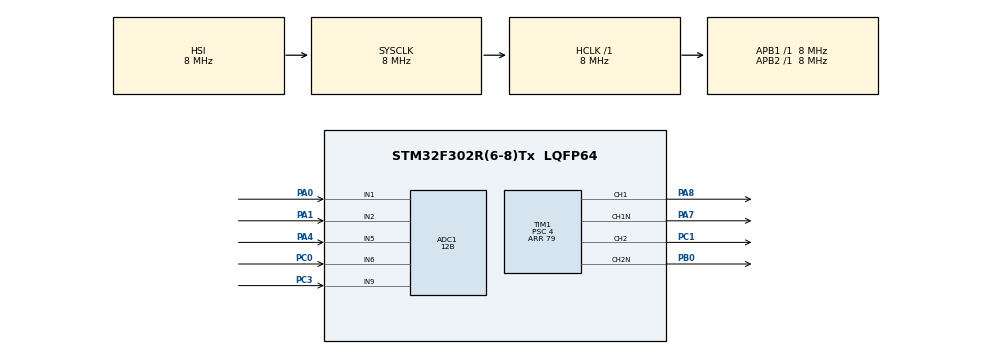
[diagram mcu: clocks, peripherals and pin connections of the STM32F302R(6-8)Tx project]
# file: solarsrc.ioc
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ADC1.Channel-12\#ChannelRegularConversion=ADC_CHANNEL_1
ADC1.Channel-13\#ChannelRegularConversion=ADC_CHANNEL_2
ADC1.Channel-14\#ChannelRegularConversion=ADC_CHANNEL_9
ADC1.Channel-15\#ChannelRegularConversion=ADC_CHANNEL_5
ADC1.Channel-16\#ChannelRegularConversion=ADC_CHANNEL_6
ADC1.ClockPrescaler=ADC_CLOCK_SYNC_PCLK_DIV4
ADC1.ContinuousConvMode=ENABLE
ADC1.DMAContinuousRequests=ENABLE
ADC1.DataAlign=ADC_DATAALIGN_RIGHT
ADC1.DiscontinuousConvMode=DISABLE
ADC1.EOCSelection=ADC_EOC_SINGLE_CONV
ADC1.EnableInjectedConversion=ENABLE
ADC1.EnableRegularConversion=ENABLE
ADC1.InjNumberOfConversion=0
ADC1.LowPowerAutoWait=DISABLE
ADC1.NbrOfConversion=5
ADC1.NbrOfConversionFlag=1
ADC1.Offset-12\#ChannelRegularConversion=0
ADC1.Offset-13\#ChannelRegularConversion=0
ADC1.Offset-14\#ChannelRegularConversion=0
ADC1.Offset-15\#ChannelRegularConversion=0
ADC1.Offset-16\#ChannelRegularConversion=0
ADC1.OffsetNumber-12\#ChannelRegularConversion=ADC_OFFSET_NONE
ADC1.OffsetNumber-13\#ChannelRegularConversion=ADC_OFFSET_NONE
ADC1.OffsetNumber-14\#ChannelRegularConversion=ADC_OFFSET_NONE
ADC1.OffsetNumber-15\#ChannelRegularConversion=ADC_OFFSET_NONE
ADC1.OffsetNumber-16\#ChannelRegularConversion=ADC_OFFSET_NONE
ADC1.Overrun=ADC_OVR_DATA_OVERWRITTEN
ADC1.Rank-12\#ChannelRegularConversion=1
ADC1.Rank-13\#ChannelRegularConversion=2
ADC1.Rank-14\#ChannelRegularConversion=3
ADC1.Rank-15\#ChannelRegularConversion=4
ADC1.Rank-16\#ChannelRegularConversion=5
ADC1.Resolution=ADC_RESOLUTION_12B
ADC1.SamplingTime-12\#ChannelRegularConversion=ADC_SAMPLETIME_61CYCLES_5
ADC1.SamplingTime-13\#ChannelRegularConversion=ADC_SAMPLETIME_61CYCLES_5
ADC1.SamplingTime-14\#ChannelRegularConversion=ADC_SAMPLETIME_61CYCLES_5
ADC1.SamplingTime-15\#ChannelRegularConversion=ADC_SAMPLETIME_61CYCLES_5
ADC1.SamplingTime-16\#ChannelRegularConversion=ADC_SAMPLETIME_61CYCLES_5
ADC1.ScanConvMode=ADC_SCAN_ENABLE
ADC1.SubFamily=STM32F302x8
ADC1.master=1
Dma.ADC1.0.Direction=DMA_PERIPH_TO_MEMORY
Dma.ADC1.0.Instance=DMA1_Channel1
Dma.ADC1.0.MemDataAlignment=DMA_MDATAALIGN_WORD
Dma.ADC1.0.MemInc=DMA_MINC_ENABLE
Dma.ADC1.0.Mode=DMA_CIRCULAR
Dma.ADC1.0.PeriphDataAlignment=DMA_PDATAALIGN_WORD
Dma.ADC1.0.PeriphInc=DMA_PINC_DISABLE
Dma.ADC1.0.Priority=DMA_PRIORITY_LOW
Dma.Request0=ADC1
Mcu.Family=STM32F3
Mcu.Name=STM32F302R(6-8)Tx
Mcu.Package=LQFP64
NVIC.DMA1_Channel1_IRQn=true\:0\:0\:false\:false\:true\:false
NVIC.PriorityGroup=NVIC_PRIORITYGROUP_4
PA0.Mode=IN1-Single-Ended
PA0.Signal=ADC1_IN1
PA1.Mode=IN2-Single-Ended
PA1.Signal=ADC1_IN2
PA4.Mode=IN5-Single-Ended
PA4.Signal=ADC1_IN5
PA7.Mode=PWM Generation1 CH1 CH1N
PA7.Signal=TIM1_CH1N
PA8.Signal=S_TIM1_CH1
PB0.Mode=PWM Generation2 CH2 CH2N
PB0.Signal=TIM1_CH2N
PB3.Signal=SYS_JTDO-TRACESWO
PC0.Signal=ADCx_IN6
PC1.Signal=S_TIM1_CH2
PC3.Signal=ADCx_IN9
ProjectManager.HeapSize=0x200
ProjectManager.StackSize=0x400
ProjectManager.TargetToolchain=MDK-ARM V5
RCC.AHBFreq_Value=8000000
RCC.APB1Freq_Value=8000000
RCC.APB2Freq_Value=8000000
RCC.CortexFreq_Value=8000000
RCC.HSE_VALUE=8000000
RCC.HSI_VALUE=8000000
RCC.LSE_VALUE=32768
RCC.PLLMUL=RCC_PLL_MUL4
RCC.SYSCLKFreq_VALUE=8000000
RCC.USBFreq_Value=16000000
SH.ADCx_IN6.0=ADC1_IN6,IN6-Single-Ended
SH.ADCx_IN9.0=ADC1_IN9,IN9-Single-Ended
SH.S_TIM1_CH1.0=TIM1_CH1,PWM Generation1 CH1 CH1N
SH.S_TIM1_CH2.0=TIM1_CH2,PWM Generation2 CH2 CH2N
TIM1.AutoReloadPreload=TIM_AUTORELOAD_PRELOAD_ENABLE
TIM1.Channel-PWM\ Generation1\ CH1\ CH1N=TIM_CHANNEL_1
TIM1.Channel-PWM\ Generation2\ CH2\ CH2N=TIM_CHANNEL_2
TIM1.OCMode_PWM-PWM\ Generation1\ CH1\ CH1N=TIM_OCMODE_PWM1
TIM1.OCMode_PWM-PWM\ Generation2\ CH2\ CH2N=TIM_OCMODE_PWM1
TIM1.Period=79
TIM1.Prescaler=4
TIM1.Pulse-PWM\ Generation1\ CH1\ CH1N=39
TIM1.Pulse-PWM\ Generation2\ CH2\ CH2N=71
TIM2.Period=100
TIM2.Prescaler=3
TIM2.TIM_MasterOutputTrigger=TIM_TRGO_UPDATE
VP_TIM1_VS_ClockSourceINT.Mode=Internal
VP_TIM2_VS_ClockSourceINT.Mode=Internal
board=custom

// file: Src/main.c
/**
  ******************************************************************************
  * @file           : main.c
  * @brief          : Main program body
  ******************************************************************************
  ** This notice applies to any and all portions of this file
  * that are not between comment pairs USER CODE BEGIN and
  * USER CODE END. Other portions of this file, whether
  * inserted by the user or by software development tools
  * are owned by their respective copyright owners.
  *
  * COPYRIGHT(c) 2019 STMicroelectronics
  *
  * Redistribution and use in source and binary forms, with or without modification,
  * are permitted provided that the following conditions are met:
  *   1. Redistributions of source code must retain the above copyright notice,
  *      this list of conditions and the following disclaimer.
  *   2. Redistributions in binary form must reproduce the above copyright notice,
  *      this list of conditions and the following disclaimer in the documentation
  *      and/or other materials provided with the distribution.
  *   3. Neither the name of STMicroelectronics nor the names of its contributors
  *      may be used to endorse or promote products derived from this software
  *      without specific prior written permission.
  *
  * THIS SOFTWARE IS PROVIDED BY THE COPYRIGHT HOLDERS AND CONTRIBUTORS "AS IS"
  * AND ANY EXPRESS OR IMPLIED WARRANTIES, INCLUDING, BUT NOT LIMITED TO, THE
  * IMPLIED WARRANTIES OF MERCHANTABILITY AND FITNESS FOR A PARTICULAR PURPOSE ARE
  * DISCLAIMED. IN NO EVENT SHALL THE COPYRIGHT HOLDER OR CONTRIBUTORS BE LIABLE
  * FOR ANY DIRECT, INDIRECT, INCIDENTAL, SPECIAL, EXEMPLARY, OR CONSEQUENTIAL
  * DAMAGES (INCLUDING, BUT NOT LIMITED TO, PROCUREMENT OF SUBSTITUTE GOODS OR
  * SERVICES; LOSS OF USE, DATA, OR PROFITS; OR BUSINESS INTERRUPTION) HOWEVER
  * CAUSED AND ON ANY THEORY OF LIABILITY, WHETHER IN CONTRACT, STRICT LIABILITY,
  * OR TORT (INCLUDING NEGLIGENCE OR OTHERWISE) ARISING IN ANY WAY OUT OF THE USE
  * OF THIS SOFTWARE, EVEN IF ADVISED OF THE POSSIBILITY OF SUCH DAMAGE.
  *
  ******************************************************************************
  */
#include "main.h"
#include "stm32f3xx_hal.h"
#include "stdio.h"
#include "stdlib.h"
/* USER CODE BEGIN Includes */
//#include "mppt.h"
/* USER CODE END Includes */

ADC_HandleTypeDef hadc1;
DMA_HandleTypeDef hdma_adc1;

TIM_HandleTypeDef htim1;
TIM_HandleTypeDef htim2;

/* USER CODE BEGIN PV */
/* Private variables ---------------------------------------------------------*/

/* USER CODE END PV */

void SystemClock_Config(void);
static void MX_GPIO_Init(void);
static void MX_DMA_Init(void);
static void MX_ADC1_Init(void);
static void MX_TIM2_Init(void);
static void MX_TIM1_Init(void);

void HAL_TIM_MspPostInit(TIM_HandleTypeDef *htim);

/* USER CODE BEGIN PFP */
/* Private function prototypes -----------------------------------------------*/

/* USER CODE END PFP */

int main(void)
{

  /* MCU Configuration----------------------------------------------------------*/

  /* Reset of all peripherals, Initializes the Flash interface and the Systick. */
  HAL_Init();

  /* Configure the system clock */
  SystemClock_Config();

  /* Initialize all configured peripherals */
  MX_GPIO_Init();
  MX_DMA_Init();
  MX_ADC1_Init();
  MX_TIM2_Init();
  MX_TIM1_Init();
  /* USER CODE BEGIN 2 */
	//start time
	//HAL_TIM_Base_Start(&htim1);

 //start adc as dma
	HAL_ADC_Start_DMA(&hadc1, (uint32_t*)ADC_BUF, 5);
	// start pwm
	HAL_TIM_PWM_Start(&htim1, TIM_CHANNEL_1);
	HAL_TIMEx_PWMN_Start(&htim1, TIM_CHANNEL_1);

	HAL_TIM_PWM_Start(&htim1, TIM_CHANNEL_2);
	HAL_TIMEx_PWMN_Start(&htim1, TIM_CHANNEL_2);

	updateDutyCycle(50, TIM_CHANNEL_1);
	updateDutyCycle(50, TIM_CHANNEL_2);

	float pv_current_sampled;
	float pv_voltage_new = 0;
	float pv_current_new = 0;
	float pv_voltage_old = 0;
	float pv_current_old = 0;
	//uint32_t pv_power_new = 0;
	float pv_power_old = 0;
	//float pwm_tmp = 50;
	float pv_current_sum2 = 0;
	float pv_voltage_sum2 = 0;
  /* USER CODE END 2 */
	int i;
  /* Infinite loop */
  /* USER CODE BEGIN WHILE */
  while (1)
  {

		/*
		pv_current_new = pv_current;
		pv_voltage_new = pv_voltage;
		if (boost_out_voltage > 10){
				pwm_tmp-=2;
			}
		else{
				pwm_tmp+=2;
		}
		if (pwm_tmp>=80)
			pwm_tmp =80;
		if (pwm_tmp<=5)
			pwm_tmp = 5;
		HAL_Delay(500);
		updateDutyCycle(pwm_tmp, TIM_CHANNEL_1);

		for(int i=0; i<200; i++){
			pv_voltage_sum2 += pv_voltage;
			pv_current_sum2 += pv_current;
		}

		pv_voltage_new = pv_voltage_sum2/200;
		pv_current_new = pv_current_sum2/200;
		pv_voltage_sum2 = 0;
		pv_current_sum2 = 0;

		pv_power_new = pv_current_new * pv_voltage_new;
		if(pv_power_new >= pv_power_old + 0.005){
			if (pv_voltage_new > pv_voltage_old){
				pwm_tmp+=2;
			}
			else{
				pwm_tmp-=2;
			}
		}
		else if(pv_power_new <= pv_power_old - 0.005){
			if (pv_voltage_new > pv_voltage_old){
				pwm_tmp-=2;
			}
			else{
				pwm_tmp+=2;
			}
		}

		if (pwm_tmp>=90){
			pwm_tmp = 90;
		}
		if(pwm_tmp<=10){
			pwm_tmp = 10;
		}

		pv_voltage_old = pv_voltage_new;
		pv_current_old = pv_current_new;
		pv_power_old = pv_power_new;
		updateDutyCycle(pwm_tmp, TIM_CHANNEL_1);

		HAL_Delay(400);*/
  /* USER CODE END WHILE */

  }

}

void SystemClock_Config(void)
{

  RCC_OscInitTypeDef RCC_OscInitStruct;
  RCC_ClkInitTypeDef RCC_ClkInitStruct;
  RCC_PeriphCLKInitTypeDef PeriphClkInit;

    /**Initializes the CPU, AHB and APB busses clocks
    */
  RCC_OscInitStruct.OscillatorType = RCC_OSCILLATORTYPE_HSI;
  RCC_OscInitStruct.HSIState = RCC_HSI_ON;
  RCC_OscInitStruct.HSICalibrationValue = 16;
  RCC_OscInitStruct.PLL.PLLState = RCC_PLL_NONE;
  if (HAL_RCC_OscConfig(&RCC_OscInitStruct) != HAL_OK)
  {
    _Error_Handler(__FILE__, __LINE__);
  }

    /**Initializes the CPU, AHB and APB busses clocks
    */
  RCC_ClkInitStruct.ClockType = RCC_CLOCKTYPE_HCLK|RCC_CLOCKTYPE_SYSCLK
                              |RCC_CLOCKTYPE_PCLK1|RCC_CLOCKTYPE_PCLK2;
  RCC_ClkInitStruct.SYSCLKSource = RCC_SYSCLKSOURCE_HSI;
  RCC_ClkInitStruct.AHBCLKDivider = RCC_SYSCLK_DIV1;
  RCC_ClkInitStruct.APB1CLKDivider = RCC_HCLK_DIV1;
  RCC_ClkInitStruct.APB2CLKDivider = RCC_HCLK_DIV1;

  if (HAL_RCC_ClockConfig(&RCC_ClkInitStruct, FLASH_LATENCY_0) != HAL_OK)
  {
    _Error_Handler(__FILE__, __LINE__);
  }

  PeriphClkInit.PeriphClockSelection = RCC_PERIPHCLK_TIM1;
  PeriphClkInit.Tim1ClockSelection = RCC_TIM1CLK_HCLK;
  if (HAL_RCCEx_PeriphCLKConfig(&PeriphClkInit) != HAL_OK)
  {
    _Error_Handler(__FILE__, __LINE__);
  }

    /**Configure the Systick interrupt time
    */
  HAL_SYSTICK_Config(HAL_RCC_GetHCLKFreq()/1000);

    /**Configure the Systick
    */
  HAL_SYSTICK_CLKSourceConfig(SYSTICK_CLKSOURCE_HCLK);

  /* SysTick_IRQn interrupt configuration */
  HAL_NVIC_SetPriority(SysTick_IRQn, 0, 0);
}

/* ADC1 init function */
static void MX_ADC1_Init(void)
{

  ADC_ChannelConfTypeDef sConfig;

    /**Common config
    */
  hadc1.Instance = ADC1;
  hadc1.Init.ClockPrescaler = ADC_CLOCK_SYNC_PCLK_DIV4;
  hadc1.Init.Resolution = ADC_RESOLUTION_12B;
  hadc1.Init.ScanConvMode = ADC_SCAN_ENABLE;
  hadc1.Init.ContinuousConvMode = ENABLE;
  hadc1.Init.DiscontinuousConvMode = DISABLE;
  hadc1.Init.ExternalTrigConvEdge = ADC_EXTERNALTRIGCONVEDGE_NONE;
  hadc1.Init.ExternalTrigConv = ADC_SOFTWARE_START;
  hadc1.Init.DataAlign = ADC_DATAALIGN_RIGHT;
  hadc1.Init.NbrOfConversion = 5;
  hadc1.Init.DMAContinuousRequests = ENABLE;
  hadc1.Init.EOCSelection = ADC_EOC_SINGLE_CONV;
  hadc1.Init.LowPowerAutoWait = DISABLE;
  hadc1.Init.Overrun = ADC_OVR_DATA_OVERWRITTEN;
  if (HAL_ADC_Init(&hadc1) != HAL_OK)
  {
    _Error_Handler(__FILE__, __LINE__);
  }

    /**Configure Regular Channel
    */
  sConfig.Channel = ADC_CHANNEL_1;
  sConfig.Rank = ADC_REGULAR_RANK_1;
  sConfig.SingleDiff = ADC_SINGLE_ENDED;
  sConfig.SamplingTime = ADC_SAMPLETIME_61CYCLES_5;
  sConfig.OffsetNumber = ADC_OFFSET_NONE;
  sConfig.Offset = 0;
  if (HAL_ADC_ConfigChannel(&hadc1, &sConfig) != HAL_OK)
  {
    _Error_Handler(__FILE__, __LINE__);
  }

    /**Configure Regular Channel
    */
  sConfig.Channel = ADC_CHANNEL_2;
  sConfig.Rank = ADC_REGULAR_RANK_2;
  if (HAL_ADC_ConfigChannel(&hadc1, &sConfig) != HAL_OK)
  {
    _Error_Handler(__FILE__, __LINE__);
  }

    /**Configure Regular Channel
    */
  sConfig.Channel = ADC_CHANNEL_9;
  sConfig.Rank = ADC_REGULAR_RANK_3;
  if (HAL_ADC_ConfigChannel(&hadc1, &sConfig) != HAL_OK)
  {
    _Error_Handler(__FILE__, __LINE__);
  }

    /**Configure Regular Channel
    */
  sConfig.Channel = ADC_CHANNEL_5;
  sConfig.Rank = ADC_REGULAR_RANK_4;
  if (HAL_ADC_ConfigChannel(&hadc1, &sConfig) != HAL_OK)
  {
    _Error_Handler(__FILE__, __LINE__);
  }

    /**Configure Regular Channel
    */
  sConfig.Channel = ADC_CHANNEL_6;
  sConfig.Rank = ADC_REGULAR_RANK_5;
  if (HAL_ADC_ConfigChannel(&hadc1, &sConfig) != HAL_OK)
  {
    _Error_Handler(__FILE__, __LINE__);
  }

}

/* TIM1 init function */
static void MX_TIM1_Init(void)
{

  TIM_ClockConfigTypeDef sClockSourceConfig;
  TIM_MasterConfigTypeDef sMasterConfig;
  TIM_OC_InitTypeDef sConfigOC;
  TIM_BreakDeadTimeConfigTypeDef sBreakDeadTimeConfig;

  htim1.Instance = TIM1;
  htim1.Init.Prescaler = 4;
  htim1.Init.CounterMode = TIM_COUNTERMODE_UP;
  htim1.Init.Period = 79;
  htim1.Init.ClockDivision = TIM_CLOCKDIVISION_DIV1;
  htim1.Init.RepetitionCounter = 0;
  htim1.Init.AutoReloadPreload = TIM_AUTORELOAD_PRELOAD_ENABLE;
  if (HAL_TIM_Base_Init(&htim1) != HAL_OK)
  {
    _Error_Handler(__FILE__, __LINE__);
  }

  sClockSourceConfig.ClockSource = TIM_CLOCKSOURCE_INTERNAL;
  if (HAL_TIM_ConfigClockSource(&htim1, &sClockSourceConfig) != HAL_OK)
  {
    _Error_Handler(__FILE__, __LINE__);
  }

  if (HAL_TIM_PWM_Init(&htim1) != HAL_OK)
  {
    _Error_Handler(__FILE__, __LINE__);
  }

  sMasterConfig.MasterOutputTrigger = TIM_TRGO_RESET;
  sMasterConfig.MasterOutputTrigger2 = TIM_TRGO2_RESET;
  sMasterConfig.MasterSlaveMode = TIM_MASTERSLAVEMODE_DISABLE;
  if (HAL_TIMEx_MasterConfigSynchronization(&htim1, &sMasterConfig) != HAL_OK)
  {
    _Error_Handler(__FILE__, __LINE__);
  }

  sConfigOC.OCMode = TIM_OCMODE_PWM2;
  sConfigOC.Pulse = 24;
  sConfigOC.OCPolarity = TIM_OCPOLARITY_HIGH;
  sConfigOC.OCNPolarity = TIM_OCNPOLARITY_HIGH;
  sConfigOC.OCFastMode = TIM_OCFAST_DISABLE;
  sConfigOC.OCIdleState = TIM_OCIDLESTATE_RESET;
  sConfigOC.OCNIdleState = TIM_OCNIDLESTATE_RESET;
  if (HAL_TIM_PWM_ConfigChannel(&htim1, &sConfigOC, TIM_CHANNEL_1) != HAL_OK)
  {
    _Error_Handler(__FILE__, __LINE__);
  }

  if (HAL_TIM_PWM_ConfigChannel(&htim1, &sConfigOC, TIM_CHANNEL_2) != HAL_OK)
  {
    _Error_Handler(__FILE__, __LINE__);
  }

  sBreakDeadTimeConfig.OffStateRunMode = TIM_OSSR_DISABLE;
  sBreakDeadTimeConfig.OffStateIDLEMode = TIM_OSSI_DISABLE;
  sBreakDeadTimeConfig.LockLevel = TIM_LOCKLEVEL_OFF;
  sBreakDeadTimeConfig.DeadTime = 0;
  sBreakDeadTimeConfig.BreakState = TIM_BREAK_DISABLE;
  sBreakDeadTimeConfig.BreakPolarity = TIM_BREAKPOLARITY_HIGH;
  sBreakDeadTimeConfig.BreakFilter = 0;
  sBreakDeadTimeConfig.Break2State = TIM_BREAK2_DISABLE;
  sBreakDeadTimeConfig.Break2Polarity = TIM_BREAK2POLARITY_HIGH;
  sBreakDeadTimeConfig.Break2Filter = 0;
  sBreakDeadTimeConfig.AutomaticOutput = TIM_AUTOMATICOUTPUT_DISABLE;
  if (HAL_TIMEx_ConfigBreakDeadTime(&htim1, &sBreakDeadTimeConfig) != HAL_OK)
  {
    _Error_Handler(__FILE__, __LINE__);
  }

  HAL_TIM_MspPostInit(&htim1);

}

/* TIM2 init function */
static void MX_TIM2_Init(void)
{

  TIM_ClockConfigTypeDef sClockSourceConfig;
  TIM_MasterConfigTypeDef sMasterConfig;

  htim2.Instance = TIM2;
  htim2.Init.Prescaler = 3;
  htim2.Init.CounterMode = TIM_COUNTERMODE_UP;
  htim2.Init.Period = 100;
  htim2.Init.ClockDivision = TIM_CLOCKDIVISION_DIV1;
  htim2.Init.AutoReloadPreload = TIM_AUTORELOAD_PRELOAD_DISABLE;
  if (HAL_TIM_Base_Init(&htim2) != HAL_OK)
  {
    _Error_Handler(__FILE__, __LINE__);
  }

  sClockSourceConfig.ClockSource = TIM_CLOCKSOURCE_INTERNAL;
  if (HAL_TIM_ConfigClockSource(&htim2, &sClockSourceConfig) != HAL_OK)
  {
    _Error_Handler(__FILE__, __LINE__);
  }

  sMasterConfig.MasterOutputTrigger = TIM_TRGO_UPDATE;
  sMasterConfig.MasterSlaveMode = TIM_MASTERSLAVEMODE_DISABLE;
  if (HAL_TIMEx_MasterConfigSynchronization(&htim2, &sMasterConfig) != HAL_OK)
  {
    _Error_Handler(__FILE__, __LINE__);
  }

}

static void MX_DMA_Init(void)
{
  /* DMA controller clock enable */
  __HAL_RCC_DMA1_CLK_ENABLE();

  /* DMA interrupt init */
  /* DMA1_Channel1_IRQn interrupt configuration */
  HAL_NVIC_SetPriority(DMA1_Channel1_IRQn, 0, 0);
  HAL_NVIC_EnableIRQ(DMA1_Channel1_IRQn);

}

/** Configure pins as
        * Analog
        * Input
        * Output
        * EVENT_OUT
        * EXTI
*/
static void MX_GPIO_Init(void)
{

  /* GPIO Ports Clock Enable */
  __HAL_RCC_GPIOC_CLK_ENABLE();
  __HAL_RCC_GPIOA_CLK_ENABLE();
  __HAL_RCC_GPIOB_CLK_ENABLE();

}

/* USER CODE BEGIN 4 */
void updateDutyCycle(int duty, uint32_t Channel){
	uint32_t pulse;
	pulse = ((htim1.Init.Period + 1) * abs(1-duty)) / 100 - 1;
	__HAL_TIM_SET_COMPARE(&htim1, Channel, pulse);

}

void HAL_ADC_ConvCpltCallback(ADC_HandleTypeDef* AdcHandle){
	pv_current_adc = ((float)ADC_BUF[0]/4096.f)*3.6f;
	pv_voltage = (((float)ADC_BUF[1]/4096.f)*3.6f) * 3.;
	boost_out_voltage = ((float)ADC_BUF[2]/4096.f)*3.6f * 11.;
	pv_current = 0.0379f*pv_current_adc + 0.0012f;
	pv_current_sum+=pv_current;
	pv_voltage_sum+=pv_voltage;
	countcurr++;
}

uint32_t sample_pv_current(void){
		uint32_t sampled_current;
		if (countcurr > 1000){
			sampled_current = pv_current_sum/1000.f;
			countcurr = 0;
			pv_current_sum = 0;
		}
		return sampled_current;
}

uint32_t sample_pv_voltage(void){
		uint32_t sampled_voltage;
		if (countcurr > 1000){
			sampled_voltage = pv_current_sum/1000.f;
			countcurr = 0;
			pv_current_sum = 0;
		}
		return sampled_voltage;
}
/* USER CODE END 4 */

void _Error_Handler(char *file, int line)
{
  while(1)
  {
  }
}

/************************ (C) COPYRIGHT STMicroelectronics *****END OF FILE****/
